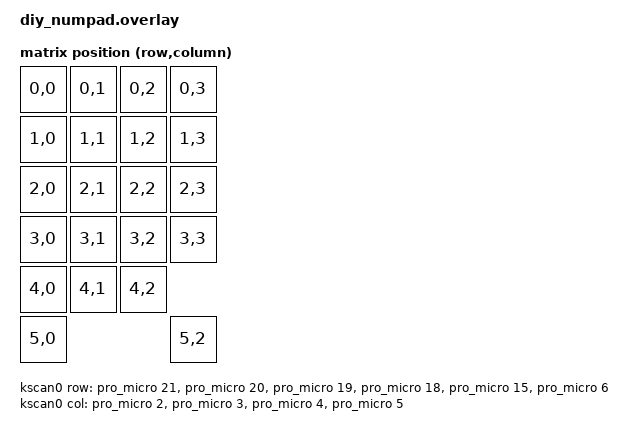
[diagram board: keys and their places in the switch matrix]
/*
 * DIY Numpad - 21 Keys
 *
 * Matrix layout (6 rows x 4 cols):
 *
 * ROW0: PrtScr  Ins    ScrLk  Pause
 * ROW1: Num    /      *      -
 * ROW2: 7      8      9      + (2U tall)
 * ROW3: 4      5      6      [+ cont.]
 * ROW4: 1      2      3      Enter (2U tall)
 * ROW5: 0 (2U wide)   Del   [Enter cont.]
 *
 * COL0=D2, COL1=D3, COL2=D4, COL3=D5
 * ROW0=D21, ROW1=D20, ROW2=D19, ROW3=D18, ROW4=D15, ROW5=D16
 * Note: D17 does not exist on nice!nano; D15 (SCK) is the adjacent pin
 *
 * Diode direction: col2row
 */

#include <dt-bindings/zmk/matrix_transform.h>
#include <dt-bindings/led/led.h>

/ {
    chosen {
        zmk,kscan = &kscan0;
        zmk,physical-layout = &default_layout;
    };

    default_transform: keymap_transform_0 {
        compatible = "zmk,matrix-transform";
        columns = <4>;
        rows = <6>;
        /*
         * |PRTSCR| INS  |SCRLK |PAUSE |
         * | Num  | /    | *    | -    |
         * | 7    | 8    | 9    | +    |
         * | 4    | 5    | 6    |      |  <- + is 2U tall (no switch at R3C3)
         * | 1    | 2    | 3    | Entr |
         * | 0         | Del  |      |  <- 0 is 2U wide, Enter 2U tall (no switch at R5C3)
         */
        map = <
            RC(0,0) RC(0,1) RC(0,2) RC(0,3)
            RC(1,0) RC(1,1) RC(1,2) RC(1,3)
            RC(2,0) RC(2,1) RC(2,2) RC(2,3)
            RC(3,0) RC(3,1) RC(3,2) RC(3,3)
            RC(4,0) RC(4,1) RC(4,2)
            RC(5,0)                 RC(5,2)
        >;
    };

    default_layout: default_layout {
        compatible = "zmk,physical-layout";
        display-name = "Default";
        transform = <&default_transform>;
        kscan = <&kscan0>;
    };

    kscan0: kscan {
        compatible = "zmk,kscan-gpio-matrix";
        diode-direction = "col2row";
        wakeup-source;

        row-gpios
            = <&pro_micro 21 (GPIO_ACTIVE_HIGH | GPIO_PULL_DOWN)>
            , <&pro_micro 20 (GPIO_ACTIVE_HIGH | GPIO_PULL_DOWN)>
            , <&pro_micro 19 (GPIO_ACTIVE_HIGH | GPIO_PULL_DOWN)>
            , <&pro_micro 18 (GPIO_ACTIVE_HIGH | GPIO_PULL_DOWN)>
            , <&pro_micro 15 (GPIO_ACTIVE_HIGH | GPIO_PULL_DOWN)>
            , <&pro_micro 6 (GPIO_ACTIVE_HIGH | GPIO_PULL_DOWN)>
            ;

        col-gpios
            = <&pro_micro 2 GPIO_ACTIVE_HIGH>
            , <&pro_micro 3 GPIO_ACTIVE_HIGH>
            , <&pro_micro 4 GPIO_ACTIVE_HIGH>
            , <&pro_micro 5 GPIO_ACTIVE_HIGH>
            ;
    };
};

/* Disable NFC controller to allow P0.09 (D10) and P0.10 (D16) to be used as GPIO */
&nfct {
    status = "disabled";
};

/* WS2812B underglow - 24 LEDs on D1 (P0.06) */
&pinctrl {
    spi3_default: spi3_default {
        group1 {
            psels = <NRF_PSEL(SPIM_MOSI, 0, 6)>;
        };
    };
    spi3_sleep: spi3_sleep {
        group1 {
            psels = <NRF_PSEL(SPIM_MOSI, 0, 6)>;
            low-power-enable;
        };
    };
};
&spi3 {
    compatible = "nordic,nrf-spim";
    status = "okay";
    pinctrl-0 = <&spi3_default>;
    pinctrl-1 = <&spi3_sleep>;
    pinctrl-names = "default", "sleep";
    led_strip: ws2812@0 {
        compatible = "worldsemi,ws2812-spi";
        reg = <0>;
        spi-max-frequency = <4000000>;
        chain-length = <24>;
        spi-one-frame = <0x70>;
        spi-zero-frame = <0x40>;
        color-mapping = <LED_COLOR_ID_GREEN LED_COLOR_ID_RED LED_COLOR_ID_BLUE>;
    };
};

/ {
    chosen {
        zmk,underglow = &led_strip;
    };
};
